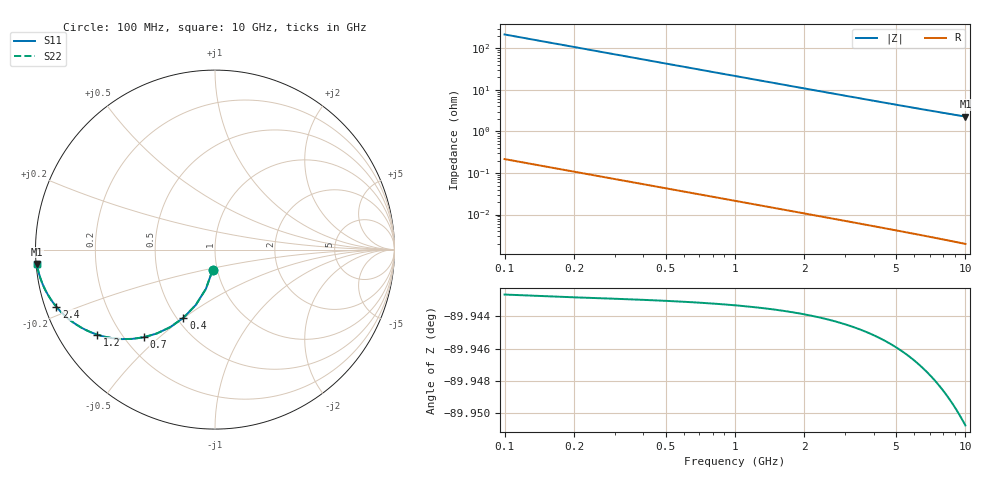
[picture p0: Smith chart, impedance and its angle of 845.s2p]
# Hz S RI R 50.00
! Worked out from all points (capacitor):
!   100 points, 100 MHz to 10 GHz, reference 50 ohm
!   read as one part in shunt: C = 7.35 pF near 100 MHz
!   lowest |Z| = 2.29 ohm at 10 GHz (marker M1)
!   S11 on the Smith chart (normalised r, x): 100 MHz: 0.95, -0.22; 400 MHz: 0.54, -0.50; 700 MHz: 0.28, -0.45; 1.2 GHz: 0.12, -0.32; 2.4 GHz: 0.03, -0.17; 10 GHz: 0.00, -0.04
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1e8  -0.0133 -0.1139  0.9867 -0.114  0.9867 -0.114  -0.0133 -0.1139
2e8  -0.0509 -0.2191  0.9491 -0.2193  0.9491 -0.2193  -0.0509 -0.2191
3e8  -0.1074 -0.309  0.8925 -0.3093  0.8925 -0.3093  -0.1074 -0.309
4e8  -0.1761 -0.3802  0.8239 -0.3806  0.8239 -0.3806  -0.1761 -0.3802
5e8  -0.2502 -0.4324  0.7498 -0.4329  0.7498 -0.4329  -0.2502 -0.4324
6e8  -0.3244 -0.4674  0.6755 -0.468  0.6755 -0.468  -0.3244 -0.4674
7e8  -0.3951 -0.488  0.6049 -0.4887  0.6049 -0.4887  -0.3951 -0.488
9e8  -0.5189 -0.4987  0.4811 -0.4996  0.4811 -0.4996  -0.5189 -0.4987
1e9  -0.5709 -0.4939  0.429 -0.495  0.429 -0.495  -0.5709 -0.4939
1.2e9  -0.6568 -0.4736  0.3431 -0.4749  0.3431 -0.4749  -0.6568 -0.4736
1.3e9  -0.6918 -0.4605  0.3081 -0.4619  0.3081 -0.4619  -0.6918 -0.4605
1.5e9  -0.7491 -0.4322  0.2509 -0.4338  0.2509 -0.4338  -0.7491 -0.4322
1.8e9  -0.8111 -0.39  0.1889 -0.3919  0.1889 -0.3919  -0.8111 -0.39
2.1e9  -0.8537 -0.3518  0.1463 -0.354  0.1463 -0.354  -0.8537 -0.3518
2.4e9  -0.8839 -0.3186  0.1161 -0.3211  0.1161 -0.3211  -0.8839 -0.3186
2.9e9  -0.9173 -0.2734  0.0827 -0.2764  0.0827 -0.2764  -0.9173 -0.2734
3.4e9  -0.9384 -0.2382  0.0616 -0.2418  0.0616 -0.2418  -0.9384 -0.2382
4.2e9  -0.9587 -0.1963  0.0413 -0.2008  0.0413 -0.2008  -0.9587 -0.1963
5.1e9  -0.9716 -0.1629  0.0284 -0.1684  0.0284 -0.1684  -0.9716 -0.1629
6.7e9  -0.9833 -0.1238  0.0166 -0.131  0.0166 -0.131  -0.9833 -0.1238
8.4e9  -0.9894 -0.0973  0.0106 -0.1064  0.0106 -0.1064  -0.9894 -0.0973
1e10  -0.9925 -0.0799  0.00739 -0.0909  0.00739 -0.0909  -0.9925 -0.0799
